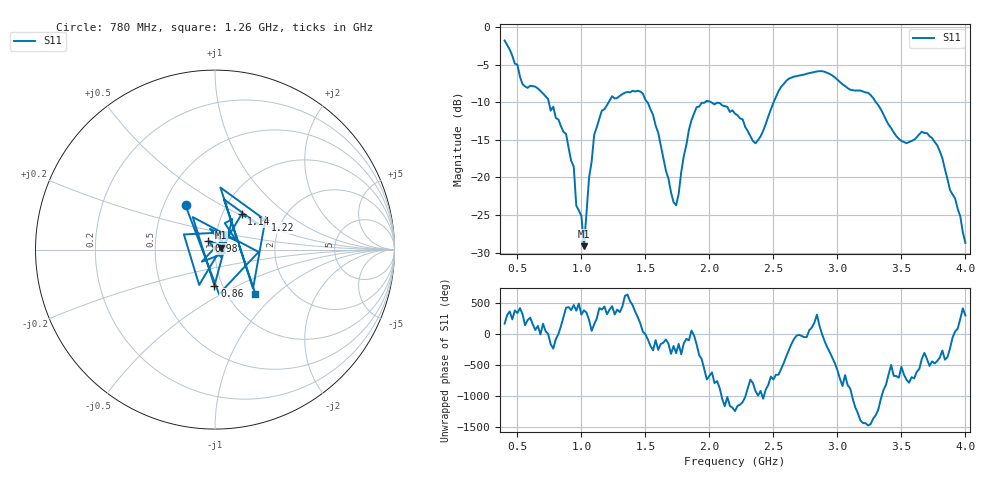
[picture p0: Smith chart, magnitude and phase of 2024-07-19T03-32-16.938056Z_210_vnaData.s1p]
!Created with skrf (http://scikit-rf.org).
# Hz S RI R 50.0
!freq ReS11 ImS11
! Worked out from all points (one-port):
!   181 points, 400 MHz to 4 GHz, reference 50 ohm
!   lowest |S11| = -29.1 dB at 1.02 GHz (marker M1), VSWR 1.07, Z = 53.4 + j1.21 ohm
!   |S11| at or under -10 dB: 745.6 MHz to 1.212 GHz (466.6 MHz wide, 47.7 % of centre); 2.014 GHz to 2.502 GHz (487.5 MHz wide, 21.6 % of centre); 3.301 GHz to end of sweep (the widest 3 of 4)
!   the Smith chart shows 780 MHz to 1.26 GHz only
!   S11 on the Smith chart (normalised r, x): 780 MHz: 0.64, +0.35; 860 MHz: 0.92, -0.38; 980 MHz: 0.93, +0.09; 1.14 GHz: 1.23, +0.51; 1.22 GHz: 1.64, +0.60; 1.26 GHz: 1.34, -0.75
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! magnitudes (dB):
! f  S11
! 400 MHz  -1.8
! 540 MHz  -7.6
! 780 MHz  -10.6
! 860 MHz  -13.9
! 940 MHz  -18.5
! 960 MHz  -23.8
! 980 MHz  -24.4
! 1.02 GHz  -29.1
! 1.06 GHz  -20.0
! 1.1 GHz  -14.3
! 1.14 GHz  -12.2
! 1.22 GHz  -9.8
! 1.26 GHz  -9.5
! 1.3 GHz  -9.1
! 1.48 GHz  -8.8
! 1.6 GHz  -14.0
! 1.72 GHz  -23.3
! 1.76 GHz  -22.2
! 1.84 GHz  -13.7
! 1.9 GHz  -10.6
! 2.2 GHz  -11.5
! 2.36 GHz  -15.5
! 2.66 GHz  -6.6
! 3.1 GHz  -8.3
! 3.24 GHz  -8.7
! 3.56 GHz  -15.3
! 3.78 GHz  -15.7
! 4 GHz  -28.7
